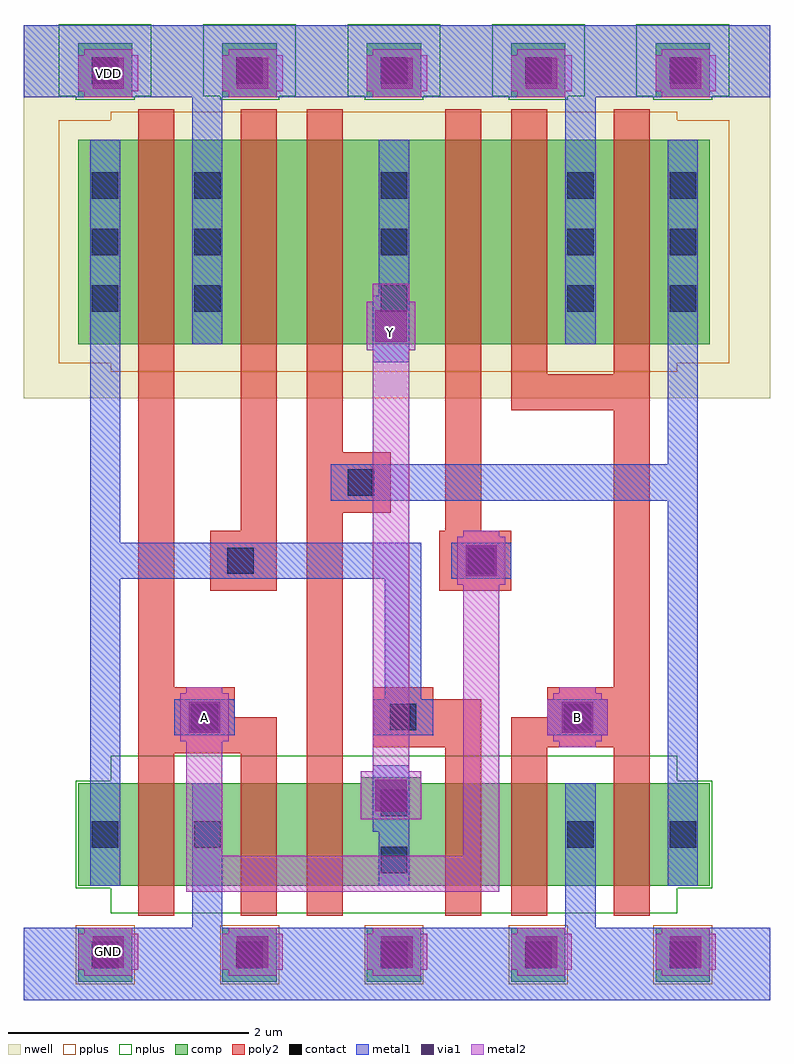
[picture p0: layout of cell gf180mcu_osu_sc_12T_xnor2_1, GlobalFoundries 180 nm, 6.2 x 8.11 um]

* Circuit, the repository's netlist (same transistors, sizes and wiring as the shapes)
.inc "../../char/techfiles/design.hspice"
.lib "../../char/techfiles/sm141064.hspice" typical

.GLOBAL VDD
.GLOBAL GND

.option scale=0.05u

.subckt gf180mcu_osu_sc_12T_xnor2_1 A Y B
X0 Y a_47_11 a_42_16 GND nmos_3p3 w=17 l=6
X1 VDD B a_76_106 VDD pmos_3p3 w=34 l=6
X2 a_47_11 B VDD VDD pmos_3p3 w=34 l=6
X3 a_76_106 A Y VDD pmos_3p3 w=34 l=6
X4 Y a_47_11 a_42_106 VDD pmos_3p3 w=34 l=6
X5 a_42_106 a_9_16 VDD VDD pmos_3p3 w=34 l=6
X6 VDD A a_9_16 VDD pmos_3p3 w=34 l=6
X7 GND A a_9_16 GND nmos_3p3 w=17 l=6
X8 a_76_16 a_9_16 Y GND nmos_3p3 w=17 l=6
X9 a_42_16 A GND GND nmos_3p3 w=17 l=6
X10 a_47_11 B GND GND nmos_3p3 w=17 l=6
X11 GND B a_76_16 GND nmos_3p3 w=17 l=6
.ends

** hspice subcircuit dictionary

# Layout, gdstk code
import gdstk
lib = gdstk.Library(unit=1e-6, precision=1e-09)
def R(c, l, rs):  # rectangles x0, y0, x1, y1
    for r in rs: c.add(gdstk.rectangle(r[:2], r[2:], *l))
def A(c, l, x, y, w, h, nx, ny, dx, dy):  # array of equal rectangles
    R(c, l, [(x+i*dx, y+j*dy, x+i*dx+w, y+j*dy+h) for i in range(nx) for j in range(ny)])
nwell = (21, 0)
comp = (22, 0)
poly2 = (30, 0)
pplus = (31, 0)
nplus = (32, 0)
contact = (33, 0)
metal1 = (34, 0)
via1 = (35, 0)
metal2 = (36, 0)

gf180mcu_osu_sc_12t_xnor = lib.new_cell('gf180mcu_osu_sc_12T_xnor2_1')
R(gf180mcu_osu_sc_12t_xnor, nwell, [(0,4.85,6.2,7.95)])
A(gf180mcu_osu_sc_12t_xnor, comp, 0.45, 0, 0.45, 0.45, 5, 2, 1.2, 7.35)
R(gf180mcu_osu_sc_12t_xnor, comp, [(0.45,0.8,5.7,1.65), (2.8,1.65,3.3,1.7), (0.45,5.3,5.7,7)])
R(gf180mcu_osu_sc_12t_xnor, poly2, [(0.95,0.55,1.25,1.9), (1.8,0.55,2.1,1.9), (2.35,0.55,2.65,3.9), (3.5,0.55,3.8,1.95), (4.05,0.55,4.35,1.95), (4.9,0.55,5.2,1.95), (0.95,1.9,2.1,2.2), (2.9,1.95,3.8,2.35), (4.05,1.95,5.2,2.2), (0.95,2.2,1.75,2.45), (4.35,2.2,5.2,2.45), (2.9,2.35,3.4,2.45), (0.95,2.45,1.25,7.25), (4.9,2.45,5.2,4.75), (1.55,3.25,2.1,3.75), (3.45,3.25,4.05,3.75), (1.8,3.75,2.1,7.25), (3.5,3.75,3.8,7.25), (2.35,3.9,3.05,4.4), (2.35,4.4,2.65,7.25), (4.05,4.75,5.2,5.05), (4.05,5.05,4.35,7.25), (4.9,5.05,5.2,7.25)])
A(gf180mcu_osu_sc_12t_xnor, pplus, 0.43, -0.02, 0.49, 0.49, 5, 1, 1.2, 0)
R(gf180mcu_osu_sc_12t_xnor, pplus, [(0.72,5.07,5.43,5.14), (0.29,5.14,5.86,7.16), (0.72,7.16,5.43,7.23)])
A(gf180mcu_osu_sc_12t_xnor, nplus, 0.43, 7.33, 0.49, 0.03, 5, 1, 1.2, 0)
A(gf180mcu_osu_sc_12t_xnor, nplus, 0.29, 7.36, 0.77, 0.6, 5, 1, 1.2, 0)
R(gf180mcu_osu_sc_12t_xnor, nplus, [(0.72,0.57,5.43,0.78), (0.43,0.78,5.72,1.67), (0.72,1.67,5.43,1.88)])
A(gf180mcu_osu_sc_12t_xnor, contact, 0.565, 0.115, 0.22, 0.22, 5, 2, 1.2, 7.35)
A(gf180mcu_osu_sc_12t_xnor, contact, 0.565, 5.57, 0.22, 0.22, 1, 3, 0, 0.47)
A(gf180mcu_osu_sc_12t_xnor, contact, 1.415, 5.57, 0.22, 0.22, 3, 3, 1.55, 0.47)
A(gf180mcu_osu_sc_12t_xnor, contact, 5.365, 5.57, 0.22, 0.22, 1, 3, 0, 0.47)
R(gf180mcu_osu_sc_12t_xnor, contact, [(2.965,0.905,3.185,1.125), (0.565,1.115,0.785,1.335), (1.415,1.115,1.635,1.335), (4.515,1.115,4.735,1.335), (5.365,1.115,5.585,1.335), (2.965,1.375,3.185,1.595), (1.39,2.09,1.61,2.31), (3.04,2.09,3.26,2.31), (4.49,2.09,4.71,2.31), (1.69,3.39,1.91,3.61), (3.69,3.39,3.91,3.61), (2.69,4.04,2.91,4.26)])
R(gf180mcu_osu_sc_12t_xnor, metal1, [(0,-0.15,6.2,0.45), (1.4,0.45,1.65,1.65), (4.5,0.45,4.75,1.65), (0.55,0.8,0.8,3.35), (2.95,0.8,3.2,1.25), (5.35,0.8,5.6,4), (2.9,1.25,3.2,1.8), (1.25,2.05,1.75,2.35), (2.9,2.05,3.4,2.35), (4.35,2.05,4.85,2.35), (3,2.35,3.3,3.35), (0.55,3.35,3.3,3.65), (3.55,3.35,4.05,3.65), (0.55,3.65,0.8,7), (2.55,4,5.6,4.3), (5.35,4.3,5.6,7), (2.9,5.15,3.2,5.7), (1.4,5.3,1.65,7.35), (4.5,5.3,4.75,7.35), (2.95,5.7,3.2,7), (0,7.35,6.2,7.95)])
A(gf180mcu_osu_sc_12t_xnor, via1, 0.57, 0.12, 0.26, 0.26, 5, 2, 1.2, 7.3)
R(gf180mcu_osu_sc_12t_xnor, via1, [(2.92,1.42,3.18,1.68), (1.37,2.07,1.63,2.33), (4.47,2.07,4.73,2.33), (3.67,3.37,3.93,3.63), (2.92,5.32,3.18,5.58)])
A(gf180mcu_osu_sc_12t_xnor, metal2, 0.5, 0.05, 0.4, 0.05, 5, 2, 1.2, 0.35)
A(gf180mcu_osu_sc_12t_xnor, metal2, 0.45, 0.1, 0.5, 0.3, 5, 2, 1.2, 7.3)
A(gf180mcu_osu_sc_12t_xnor, metal2, 0.5, 7.35, 0.4, 0.05, 5, 2, 1.2, 0.35)
R(gf180mcu_osu_sc_12t_xnor, metal2, [(1.35,0.75,3.95,1.05), (1.35,1.05,1.65,2), (3.65,1.05,3.95,3.3), (2.8,1.35,3.3,1.75), (2.9,1.75,3.2,5.25), (4.45,1.95,4.75,2), (1.3,2,1.7,2.4), (4.4,2,4.8,2.05), (4.35,2.05,4.85,2.35), (4.4,2.35,4.8,2.4), (1.35,2.4,1.65,2.45), (4.45,2.4,4.75,2.45), (3.6,3.3,4,3.7), (3.65,3.7,3.95,3.75), (2.85,5.25,3.25,5.65), (2.9,5.65,3.2,5.8)])
gf180mcu_osu_sc_12t_xnor.add(gdstk.Label('VDD', (0.7,7.55), layer=36, texttype=0))
gf180mcu_osu_sc_12t_xnor.add(gdstk.Label('GND', (0.7,0.25), layer=36, texttype=0))
gf180mcu_osu_sc_12t_xnor.add(gdstk.Label('A', (1.5,2.2), layer=36, texttype=10))
gf180mcu_osu_sc_12t_xnor.add(gdstk.Label('Y', (3.05,5.4), layer=36, texttype=10))
gf180mcu_osu_sc_12t_xnor.add(gdstk.Label('B', (4.6,2.2), layer=36, texttype=10))

lib.write_gds('gf180mcu_osu_sc_12T_xnor2_1.gds')
